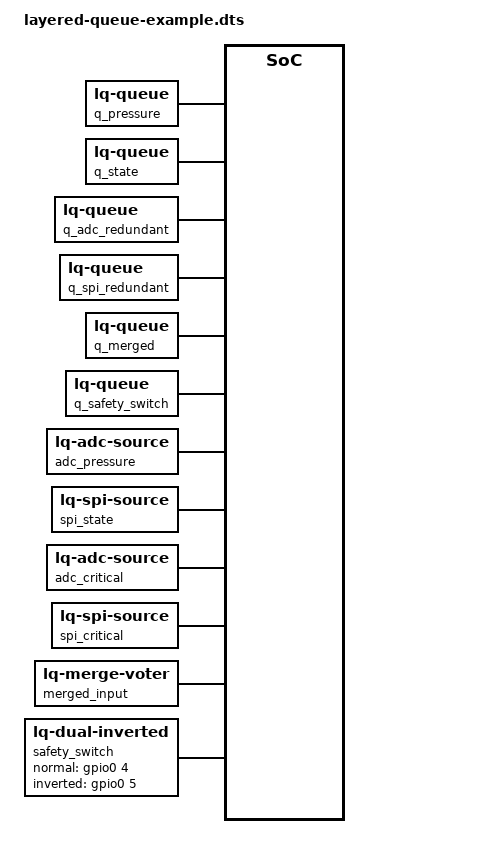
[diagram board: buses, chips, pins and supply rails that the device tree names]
/*
 * Copyright (c) 2026 Layered Queue Driver
 * SPDX-License-Identifier: Apache-2.0
 */

/dts-v1/;

/ {
    /* Define queues for data routing */
    q_pressure: lq-queue@0 {
        compatible = "zephyr,lq-queue";
        capacity = <16>;
        drop-policy = "drop-oldest";
        priority = <10>;
    };

    q_state: lq-queue@1 {
        compatible = "zephyr,lq-queue";
        capacity = <8>;
        drop-policy = "drop-newest";
        priority = <5>;
    };

    q_adc_redundant: lq-queue@2 {
        compatible = "zephyr,lq-queue";
        capacity = <16>;
        drop-policy = "drop-oldest";
    };

    q_spi_redundant: lq-queue@3 {
        compatible = "zephyr,lq-queue";
        capacity = <16>;
        drop-policy = "drop-oldest";
    };

    q_merged: lq-queue@4 {
        compatible = "zephyr,lq-queue";
        capacity = <32>;
        drop-policy = "drop-oldest";
        priority = <20>;
    };

    q_safety_switch: lq-queue@5 {
        compatible = "zephyr,lq-queue";
        capacity = <4>;
        drop-policy = "drop-oldest";
        priority = <100>;
    };

    /* ADC pressure sensor source */
    adc_pressure: lq-source@0 {
        compatible = "zephyr,lq-adc-source";
        adc = <&adc1>;
        channel = <2>;
        output-queue = <&q_pressure>;
        poll-interval-ms = <100>;
        averaging = <4>;

        /* Define expected ranges with status codes */
        valid {
            min = <1000>;
            max = <3000>;
            status = <0>;  /* LQ_OK */
        };

        degraded {
            min = <900>;
            max = <3100>;
            status = <1>;  /* LQ_DEGRADED */
        };

        fault {
            min = <0>;
            max = <4095>;
            status = <2>;  /* LQ_OUT_OF_RANGE */
        };
    };

    /* SPI state sensor source */
    spi_state: lq-source@1 {
        compatible = "zephyr,lq-spi-source";
        spi = <&spi2>;
        reg = <0x10>;
        output-queue = <&q_state>;
        poll-interval-ms = <50>;
        read-length = <1>;

        /* Expected value mappings */
        ok {
            value = <0x55>;
            status = <0>;  /* LQ_OK */
        };

        degraded {
            value = <0x5A>;
            status = <1>;  /* LQ_DEGRADED */
        };

        invalid {
            value = <0xFF>;
            status = <3>;  /* LQ_ERROR */
        };
    };

    /* Redundant ADC for critical measurement */
    adc_critical: lq-source@2 {
        compatible = "zephyr,lq-adc-source";
        adc = <&adc1>;
        channel = <3>;
        output-queue = <&q_adc_redundant>;
        poll-interval-ms = <50>;
        averaging = <8>;

        valid {
            min = <1100>;
            max = <2900>;
            status = <0>;
        };

        out_of_range {
            min = <0>;
            max = <4095>;
            status = <2>;
        };
    };

    /* Redundant SPI for critical measurement */
    spi_critical: lq-source@3 {
        compatible = "zephyr,lq-spi-source";
        spi = <&spi2>;
        reg = <0x20>;
        output-queue = <&q_spi_redundant>;
        poll-interval-ms = <50>;
        read-length = <2>;
    };

    /* Merge and vote on redundant inputs */
    merged_input: lq-merge@0 {
        compatible = "zephyr,lq-merge-voter";
        input-queues = <&q_adc_redundant &q_spi_redundant>;
        output-queue = <&q_merged>;
        voting-method = "median";
        tolerance = <50>;
        status-if-violation = <2>;  /* LQ_OUT_OF_RANGE */
        timeout-ms = <200>;

        expected-range {
            min = <1100>;
            max = <2900>;
            status-if-violation = <2>;  /* LQ_OUT_OF_RANGE */
        };
    };

    /* Dual-inverted safety switch input */
    safety_switch: lq-dual-inverted@0 {
        compatible = "zephyr,lq-dual-inverted";
        gpio-normal = <&gpio0 4 0>;
        gpio-inverted = <&gpio0 5 0>;
        output-queue = <&q_safety_switch>;
        poll-interval-ms = <10>;
        debounce-ms = <5>;
        error-on-both-high = true;
        error-on-both-low = true;
        error-status = <3>;  /* LQ_ERROR */
        ok-status = <0>;     /* LQ_OK */
    };
};
